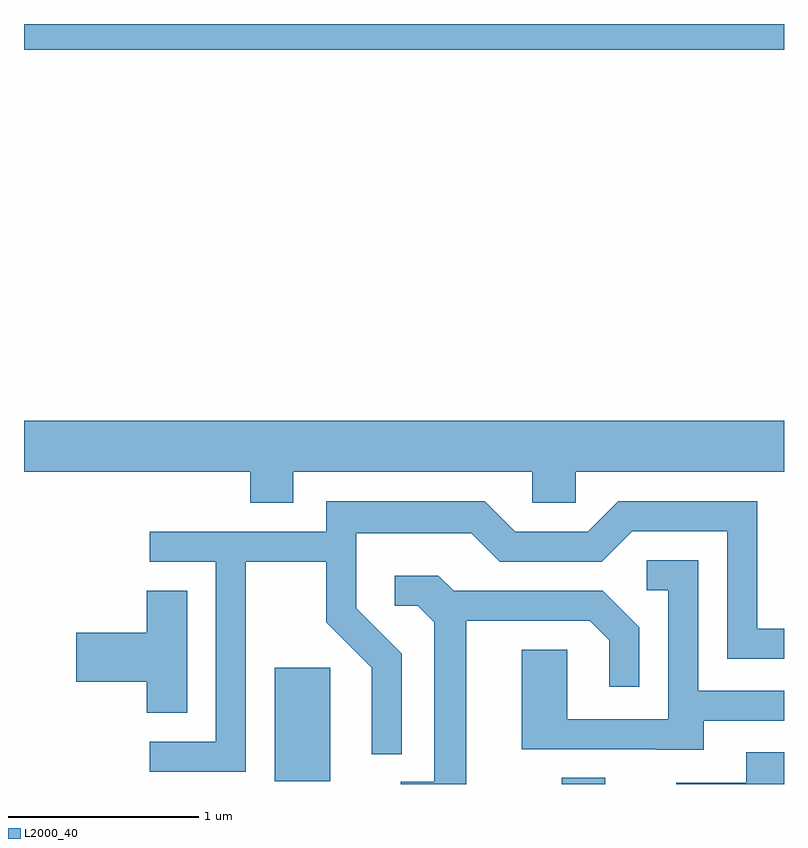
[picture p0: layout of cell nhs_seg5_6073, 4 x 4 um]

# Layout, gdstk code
import gdstk
lib = gdstk.Library(unit=1e-6, precision=1e-09)
def R(c, l, rs):  # rectangles x0, y0, x1, y1
    for r in rs: c.add(gdstk.rectangle(r[:2], r[2:], *l))
def P(c, l, *ps):  # polygons
    for p in ps: c.add(gdstk.Polygon(p, *l))
L2000_40 = (2000, 40)

nhs_seg5_6073 = lib.new_cell('nhs_seg5_6073')
R(nhs_seg5_6073, L2000_40, [(368.441,1424.072,368.669,1424.104), (366.931,1424.086,367.224,1424.684), (365.611,1427.936,369.611,1428.072)])
P(nhs_seg5_6073, L2000_40, [(367.029,1425.716),(368.286,1425.716),(368.286,1425.551),(368.514,1425.551),(368.514,1425.716),(369.611,1425.716),(369.611,1425.984),(365.611,1425.984),(365.611,1425.716),(366.801,1425.716),(366.801,1425.551),(367.029,1425.551)],
  [(366.779,1425.241),(367.201,1425.241),(367.201,1424.924),(367.441,1424.684),(367.441,1424.228),(367.599,1424.228),(367.599,1424.757),(367.359,1424.997),(367.359,1425.391),(367.964,1425.391),(368.114,1425.241),(368.652,1425.241),(368.812,1425.401),(369.311,1425.401),(369.311,1424.731),(369.611,1424.731),(369.611,1424.889),(369.469,1424.889),(369.469,1425.559),(368.739,1425.559),(368.579,1425.399),(368.197,1425.399),(368.037,1425.559),(367.201,1425.559),(367.201,1425.399),(366.273,1425.399),(366.273,1425.241),(366.621,1425.241),(366.621,1424.294),(366.273,1424.294),(366.273,1424.136),(366.779,1424.136)],
  [(369.189,1424.406),(369.611,1424.406),(369.611,1424.564),(369.159,1424.564),(369.159,1425.249),(368.888,1425.249),(368.888,1425.091),(369.001,1425.091),(369.001,1424.414),(368.469,1424.414),(368.469,1424.779),(368.231,1424.779),(368.231,1424.256),(368.935,1424.256),(368.935,1424.251),(369.189,1424.251)],
  [(367.939,1424.931),(368.589,1424.931),(368.691,1424.829),(368.691,1424.583),(368.849,1424.583),(368.849,1424.897),(368.657,1425.089),(367.872,1425.089),(367.792,1425.169),(367.563,1425.169),(367.563,1425.011),(367.684,1425.011),(367.771,1424.924),(367.771,1424.084),(367.593,1424.084),(367.593,1424.072),(367.939,1424.072)],
  [(366.469,1425.089),(366.256,1425.089),(366.256,1424.869),(365.886,1424.869),(365.886,1424.611),(366.256,1424.611),(366.256,1424.446),(366.469,1424.446)],
  [(369.611,1424.239),(369.411,1424.239),(369.411,1424.079),(369.043,1424.079),(369.043,1424.072),(369.611,1424.072)])

lib.write_gds('nhs_seg5_6073.gds')
